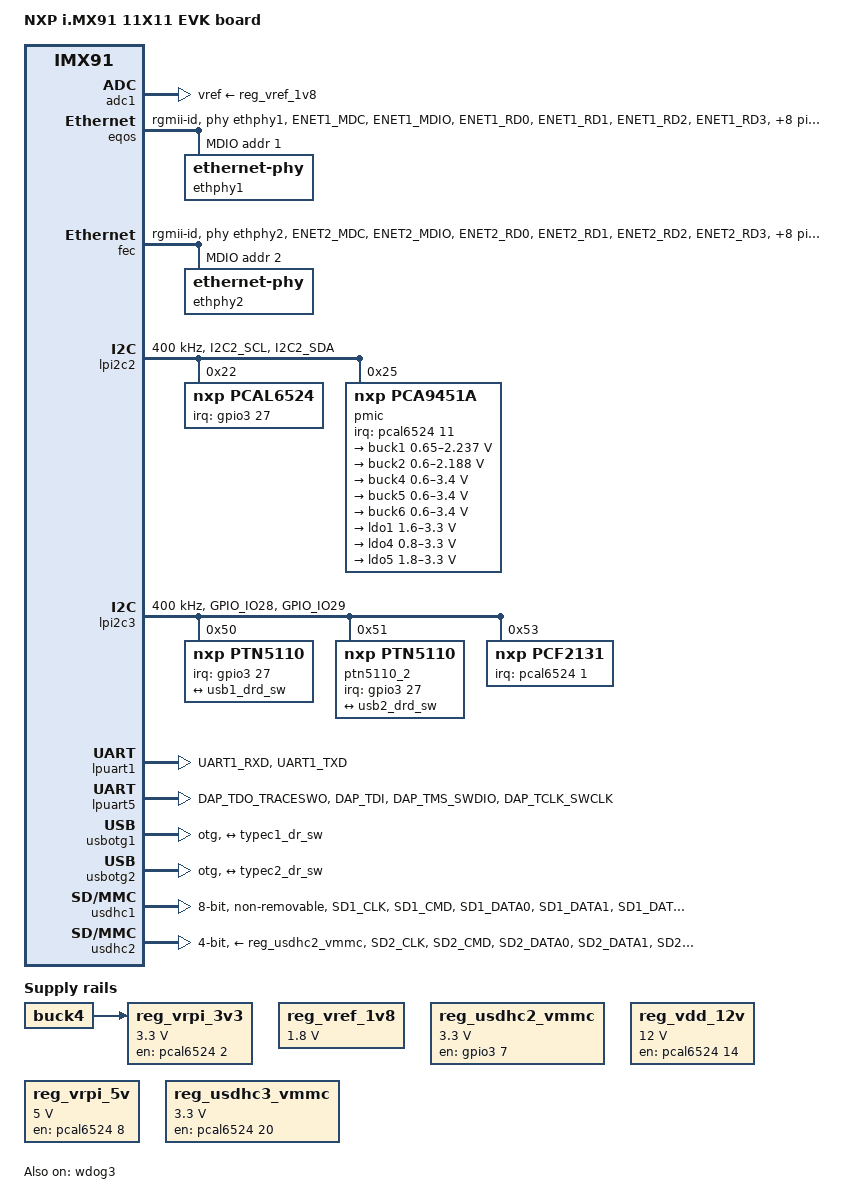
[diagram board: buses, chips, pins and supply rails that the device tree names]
// SPDX-License-Identifier: (GPL-2.0+ OR MIT)
/*
 * Copyright 2024 NXP
 */

/dts-v1/;

#include <dt-bindings/usb/pd.h>
#include "imx91.dtsi"

/ {
	model = "NXP i.MX91 11X11 EVK board";
	compatible = "fsl,imx91-11x11-evk", "fsl,imx91";

	aliases {
		ethernet0 = &fec;
		ethernet1 = &eqos;
		rtc0 = &bbnsm_rtc;
	};

	chosen {
		stdout-path = &lpuart1;
	};

	reserved-memory {
		#address-cells = <2>;
		#size-cells = <2>;
		ranges;

		linux,cma {
			compatible = "shared-dma-pool";
			reusable;
			alloc-ranges = <0 0x80000000 0 0x40000000>;
			size = <0 0x10000000>;
			linux,cma-default;
		};
	};

	reg_vref_1v8: regulator-adc-vref {
		compatible = "regulator-fixed";
		regulator-name = "vref_1v8";
		regulator-min-microvolt = <1800000>;
		regulator-max-microvolt = <1800000>;
	};

	reg_usdhc2_vmmc: regulator-usdhc2 {
		compatible = "regulator-fixed";
		pinctrl-names = "default";
		pinctrl-0 = <&pinctrl_reg_usdhc2_vmmc>;
		regulator-name = "VSD_3V3";
		regulator-min-microvolt = <3300000>;
		regulator-max-microvolt = <3300000>;
		gpio = <&gpio3 7 GPIO_ACTIVE_HIGH>;
		off-on-delay-us = <12000>;
		enable-active-high;
	};

	reg_vdd_12v: regulator-vdd-12v {
		compatible = "regulator-fixed";
		regulator-name = "reg_vdd_12v";
		regulator-min-microvolt = <12000000>;
		regulator-max-microvolt = <12000000>;
		gpio = <&pcal6524 14 GPIO_ACTIVE_HIGH>;
		enable-active-high;
	};

	reg_vrpi_3v3: regulator-vrpi-3v3 {
		compatible = "regulator-fixed";
		regulator-name = "VRPI_3V3";
		gpio = <&pcal6524 2 GPIO_ACTIVE_HIGH>;
		regulator-min-microvolt = <3300000>;
		regulator-max-microvolt = <3300000>;
		enable-active-high;
		vin-supply = <&buck4>;
	};

	reg_vrpi_5v: regulator-vrpi-5v {
		compatible = "regulator-fixed";
		regulator-name = "VRPI_5V";
		gpio = <&pcal6524 8 GPIO_ACTIVE_HIGH>;
		regulator-min-microvolt = <5000000>;
		regulator-max-microvolt = <5000000>;
		enable-active-high;
	};

	reg_usdhc3_vmmc: regulator-usdhc3 {
		compatible = "regulator-fixed";
		regulator-name = "WLAN_EN";
		regulator-min-microvolt = <3300000>;
		regulator-max-microvolt = <3300000>;
		gpio = <&pcal6524 20 GPIO_ACTIVE_HIGH>;
		/*
		 * IW612 wifi chip needs more delay than other wifi chips to complete
		 * the host interface initialization after power up, otherwise the
		 * internal state of IW612 may be unstable, resulting in the failure of
		 * the SDIO3.0 switch voltage.
		 */
		startup-delay-us = <20000>;
		enable-active-high;
	};
};

&adc1 {
	vref-supply = <&reg_vref_1v8>;
	status = "okay";
};

&eqos {
	pinctrl-names = "default", "sleep";
	pinctrl-0 = <&pinctrl_eqos>;
	pinctrl-1 = <&pinctrl_eqos_sleep>;
	phy-mode = "rgmii-id";
	phy-handle = <&ethphy1>;
	status = "okay";

	mdio {
		compatible = "snps,dwmac-mdio";
		#address-cells = <1>;
		#size-cells = <0>;
		clock-frequency = <5000000>;

		ethphy1: ethernet-phy@1 {
			reg = <1>;
			eee-broken-1000t;
		};
	};
};

&fec {
	pinctrl-names = "default", "sleep";
	pinctrl-0 = <&pinctrl_fec>;
	pinctrl-1 = <&pinctrl_fec_sleep>;
	phy-mode = "rgmii-id";
	phy-handle = <&ethphy2>;
	fsl,magic-packet;
	status = "okay";

	mdio {
		#address-cells = <1>;
		#size-cells = <0>;
		clock-frequency = <5000000>;

		ethphy2: ethernet-phy@2 {
			reg = <2>;
			eee-broken-1000t;
		};
	};
};

&lpi2c2 {
	#address-cells = <1>;
	#size-cells = <0>;
	clock-frequency = <400000>;
	pinctrl-names = "default", "sleep";
	pinctrl-0 = <&pinctrl_lpi2c2>;
	pinctrl-1 = <&pinctrl_lpi2c2>;
	status = "okay";

	pcal6524: gpio@22 {
		compatible = "nxp,pcal6524";
		pinctrl-names = "default";
		pinctrl-0 = <&pinctrl_pcal6524>;
		reg = <0x22>;
		gpio-controller;
		#gpio-cells = <2>;
		interrupt-controller;
		#interrupt-cells = <2>;
		interrupt-parent = <&gpio3>;
		interrupts = <27 IRQ_TYPE_LEVEL_LOW>;
	};

	pmic@25 {
		compatible = "nxp,pca9451a";
		reg = <0x25>;
		interrupt-parent = <&pcal6524>;
		interrupts = <11 IRQ_TYPE_EDGE_FALLING>;

		regulators {
			buck1: BUCK1 {
				regulator-name = "BUCK1";
				regulator-min-microvolt = <650000>;
				regulator-max-microvolt = <2237500>;
				regulator-boot-on;
				regulator-always-on;
				regulator-ramp-delay = <3125>;
			};

			buck2: BUCK2 {
				regulator-name = "BUCK2";
				regulator-min-microvolt = <600000>;
				regulator-max-microvolt = <2187500>;
				regulator-boot-on;
				regulator-always-on;
				regulator-ramp-delay = <3125>;
			};

			buck4: BUCK4{
				regulator-name = "BUCK4";
				regulator-min-microvolt = <600000>;
				regulator-max-microvolt = <3400000>;
				regulator-boot-on;
				regulator-always-on;
			};

			buck5: BUCK5{
				regulator-name = "BUCK5";
				regulator-min-microvolt = <600000>;
				regulator-max-microvolt = <3400000>;
				regulator-boot-on;
				regulator-always-on;
			};

			buck6: BUCK6 {
				regulator-name = "BUCK6";
				regulator-min-microvolt = <600000>;
				regulator-max-microvolt = <3400000>;
				regulator-boot-on;
				regulator-always-on;
			};

			ldo1: LDO1 {
				regulator-name = "LDO1";
				regulator-min-microvolt = <1600000>;
				regulator-max-microvolt = <3300000>;
				regulator-boot-on;
				regulator-always-on;
			};

			ldo4: LDO4 {
				regulator-name = "LDO4";
				regulator-min-microvolt = <800000>;
				regulator-max-microvolt = <3300000>;
				regulator-boot-on;
				regulator-always-on;
			};

			ldo5: LDO5 {
				regulator-name = "LDO5";
				regulator-min-microvolt = <1800000>;
				regulator-max-microvolt = <3300000>;
				regulator-boot-on;
				regulator-always-on;
			};
		};
	};
};

&lpi2c3 {
	#address-cells = <1>;
	#size-cells = <0>;
	clock-frequency = <400000>;
	pinctrl-names = "default", "sleep";
	pinctrl-0 = <&pinctrl_lpi2c3>;
	pinctrl-1 = <&pinctrl_lpi2c3>;
	status = "okay";

	ptn5110: tcpc@50 {
		compatible = "nxp,ptn5110", "tcpci";
		reg = <0x50>;
		interrupt-parent = <&gpio3>;
		interrupts = <27 IRQ_TYPE_LEVEL_LOW>;
		status = "okay";

		typec1_con: connector {
			compatible = "usb-c-connector";
			label = "USB-C";
			power-role = "dual";
			data-role = "dual";
			try-power-role = "sink";
			source-pdos = <PDO_FIXED(5000, 3000, PDO_FIXED_USB_COMM)>;
			sink-pdos = <PDO_FIXED(5000, 3000, PDO_FIXED_USB_COMM)
				     PDO_VAR(5000, 20000, 3000)>;
			op-sink-microwatt = <15000000>;
			self-powered;

			ports {
				#address-cells = <1>;
				#size-cells = <0>;

				port@0 {
					reg = <0>;

					typec1_dr_sw: endpoint {
						remote-endpoint = <&usb1_drd_sw>;
					};
				};
			};
		};
	};

	ptn5110_2: tcpc@51 {
		compatible = "nxp,ptn5110", "tcpci";
		reg = <0x51>;
		interrupt-parent = <&gpio3>;
		interrupts = <27 IRQ_TYPE_LEVEL_LOW>;
		status = "okay";

		typec2_con: connector {
			compatible = "usb-c-connector";
			label = "USB-C";
			power-role = "dual";
			data-role = "dual";
			try-power-role = "sink";
			source-pdos = <PDO_FIXED(5000, 3000, PDO_FIXED_USB_COMM)>;
			sink-pdos = <PDO_FIXED(5000, 3000, PDO_FIXED_USB_COMM)
				     PDO_VAR(5000, 20000, 3000)>;
			op-sink-microwatt = <15000000>;
			self-powered;

			ports {
				#address-cells = <1>;
				#size-cells = <0>;

				port@0 {
					reg = <0>;

					typec2_dr_sw: endpoint {
						remote-endpoint = <&usb2_drd_sw>;
					};
				};
			};
		};
	};

	pcf2131: rtc@53 {
			compatible = "nxp,pcf2131";
			reg = <0x53>;
			interrupt-parent = <&pcal6524>;
			interrupts = <1 IRQ_TYPE_EDGE_FALLING>;
			status = "okay";
	};
};

&lpuart1 { /* console */
	pinctrl-names = "default";
	pinctrl-0 = <&pinctrl_uart1>;
	status = "okay";
};

&lpuart5 {
	pinctrl-names = "default";
	pinctrl-0 = <&pinctrl_uart5>;
	status = "okay";
};

&usbotg1 {
	dr_mode = "otg";
	hnp-disable;
	srp-disable;
	adp-disable;
	usb-role-switch;
	disable-over-current;
	samsung,picophy-pre-emp-curr-control = <3>;
	samsung,picophy-dc-vol-level-adjust = <7>;
	status = "okay";

	port {
		usb1_drd_sw: endpoint {
			remote-endpoint = <&typec1_dr_sw>;
		};
	};
};

&usbotg2 {
	dr_mode = "otg";
	hnp-disable;
	srp-disable;
	adp-disable;
	usb-role-switch;
	disable-over-current;
	samsung,picophy-pre-emp-curr-control = <3>;
	samsung,picophy-dc-vol-level-adjust = <7>;
	status = "okay";

	port {
		usb2_drd_sw: endpoint {
			remote-endpoint = <&typec2_dr_sw>;
		};
	};
};

&usdhc1 {
	pinctrl-names = "default", "state_100mhz", "state_200mhz";
	pinctrl-0 = <&pinctrl_usdhc1>;
	pinctrl-1 = <&pinctrl_usdhc1_100mhz>;
	pinctrl-2 = <&pinctrl_usdhc1_200mhz>;
	bus-width = <8>;
	non-removable;
	status = "okay";
};

&usdhc2 {
	pinctrl-names = "default", "state_100mhz", "state_200mhz", "sleep";
	pinctrl-0 = <&pinctrl_usdhc2>, <&pinctrl_usdhc2_gpio>;
	pinctrl-1 = <&pinctrl_usdhc2_100mhz>, <&pinctrl_usdhc2_gpio>;
	pinctrl-2 = <&pinctrl_usdhc2_200mhz>, <&pinctrl_usdhc2_gpio>;
	pinctrl-3 = <&pinctrl_usdhc2_sleep>, <&pinctrl_usdhc2_gpio_sleep>;
	cd-gpios = <&gpio3 00 GPIO_ACTIVE_LOW>;
	vmmc-supply = <&reg_usdhc2_vmmc>;
	bus-width = <4>;
	status = "okay";
	no-sdio;
	no-mmc;
};

&wdog3 {
	fsl,ext-reset-output;
	status = "okay";
};

&iomuxc {
	pinctrl_eqos: eqosgrp {
		fsl,pins = <
			MX91_PAD_ENET1_MDC__ENET1_MDC			0x57e
			MX91_PAD_ENET1_MDIO__ENET_QOS_MDIO			0x57e
			MX91_PAD_ENET1_RD0__ENET_QOS_RGMII_RD0			0x57e
			MX91_PAD_ENET1_RD1__ENET_QOS_RGMII_RD1			0x57e
			MX91_PAD_ENET1_RD2__ENET_QOS_RGMII_RD2			0x57e
			MX91_PAD_ENET1_RD3__ENET_QOS_RGMII_RD3			0x57e
			MX91_PAD_ENET1_RXC__ENET_QOS_RGMII_RXC	0x5fe
			MX91_PAD_ENET1_RX_CTL__ENET_QOS_RGMII_RX_CTL		0x57e
			MX91_PAD_ENET1_TD0__ENET_QOS_RGMII_TD0			0x57e
			MX91_PAD_ENET1_TD1__ENET1_RGMII_TD1			0x57e
			MX91_PAD_ENET1_TD2__ENET_QOS_RGMII_TD2			0x57e
			MX91_PAD_ENET1_TD3__ENET_QOS_RGMII_TD3			0x57e
			MX91_PAD_ENET1_TXC__CCM_ENET_QOS_CLOCK_GENERATE_TX_CLK	0x5fe
			MX91_PAD_ENET1_TX_CTL__ENET_QOS_RGMII_TX_CTL		0x57e
		>;
	};

	pinctrl_eqos_sleep: eqossleepgrp {
		fsl,pins = <
			MX91_PAD_ENET1_MDC__GPIO4_IO0				0x31e
			MX91_PAD_ENET1_MDIO__GPIO4_IO1				0x31e
			MX91_PAD_ENET1_RD0__GPIO4_IO10                          0x31e
			MX91_PAD_ENET1_RD1__GPIO4_IO11				0x31e
			MX91_PAD_ENET1_RD2__GPIO4_IO12				0x31e
			MX91_PAD_ENET1_RD3__GPIO4_IO13				0x31e
			MX91_PAD_ENET1_RXC__GPIO4_IO9                          0x31e
			MX91_PAD_ENET1_RX_CTL__GPIO4_IO8			0x31e
			MX91_PAD_ENET1_TD0__GPIO4_IO5                          0x31e
			MX91_PAD_ENET1_TD1__GPIO4_IO4                          0x31e
			MX91_PAD_ENET1_TD2__GPIO4_IO3				0x31e
			MX91_PAD_ENET1_TD3__GPIO4_IO3				0x31e
			MX91_PAD_ENET1_TXC__GPIO4_IO7                          0x31e
			MX91_PAD_ENET1_TX_CTL__GPIO4_IO6                       0x31e
		>;
	};

	pinctrl_fec: fecgrp {
		fsl,pins = <
			MX91_PAD_ENET2_MDC__ENET2_MDC			0x57e
			MX91_PAD_ENET2_MDIO__ENET2_MDIO			0x57e
			MX91_PAD_ENET2_RD0__ENET2_RGMII_RD0		0x57e
			MX91_PAD_ENET2_RD1__ENET2_RGMII_RD1		0x57e
			MX91_PAD_ENET2_RD2__ENET2_RGMII_RD2		0x57e
			MX91_PAD_ENET2_RD3__ENET2_RGMII_RD3		0x57e
			MX91_PAD_ENET2_RXC__ENET2_RGMII_RXC		0x5fe
			MX91_PAD_ENET2_RX_CTL__ENET2_RGMII_RX_CTL	0x57e
			MX91_PAD_ENET2_TD0__ENET2_RGMII_TD0		0x57e
			MX91_PAD_ENET2_TD1__ENET2_RGMII_TD1		0x57e
			MX91_PAD_ENET2_TD2__ENET2_RGMII_TD2		0x57e
			MX91_PAD_ENET2_TD3__ENET2_RGMII_TD3		0x57e
			MX91_PAD_ENET2_TXC__ENET2_RGMII_TXC		0x5fe
			MX91_PAD_ENET2_TX_CTL__ENET2_RGMII_TX_CTL	0x57e
		>;
	};

	pinctrl_fec_sleep: fecsleepgrp {
		fsl,pins = <
			MX91_PAD_ENET2_MDC__GPIO4_IO14			0x51e
			MX91_PAD_ENET2_MDIO__GPIO4_IO15			0x51e
			MX91_PAD_ENET2_RD0__GPIO4_IO24			0x51e
			MX91_PAD_ENET2_RD1__GPIO4_IO25			0x51e
			MX91_PAD_ENET2_RD2__GPIO4_IO26			0x51e
			MX91_PAD_ENET2_RD3__GPIO4_IO27			0x51e
			MX91_PAD_ENET2_RXC__GPIO4_IO23                  0x51e
			MX91_PAD_ENET2_RX_CTL__GPIO4_IO22		0x51e
			MX91_PAD_ENET2_TD0__GPIO4_IO19			0x51e
			MX91_PAD_ENET2_TD1__GPIO4_IO18			0x51e
			MX91_PAD_ENET2_TD2__GPIO4_IO17			0x51e
			MX91_PAD_ENET2_TD3__GPIO4_IO16			0x51e
			MX91_PAD_ENET2_TXC__GPIO4_IO21                  0x51e
			MX91_PAD_ENET2_TX_CTL__GPIO4_IO20               0x51e
		>;
	};

	pinctrl_flexcan2: flexcan2grp {
		fsl,pins = <
			MX91_PAD_GPIO_IO25__CAN2_TX	0x139e
			MX91_PAD_GPIO_IO27__CAN2_RX	0x139e
		>;
	};
	pinctrl_flexcan2_sleep: flexcan2sleepgrp {
		fsl,pins = <
			MX91_PAD_GPIO_IO25__GPIO2_IO25  0x31e
			MX91_PAD_GPIO_IO27__GPIO2_IO27	0x31e
		>;
	};

	pinctrl_lcdif: lcdifgrp {
		fsl,pins = <
			MX91_PAD_GPIO_IO00__MEDIAMIX_DISP_CLK		0x31e
			MX91_PAD_GPIO_IO01__MEDIAMIX_DISP_DE		0x31e
			MX91_PAD_GPIO_IO02__MEDIAMIX_DISP_VSYNC		0x31e
			MX91_PAD_GPIO_IO03__MEDIAMIX_DISP_HSYNC		0x31e
			MX91_PAD_GPIO_IO04__MEDIAMIX_DISP_DATA0		0x31e
			MX91_PAD_GPIO_IO05__MEDIAMIX_DISP_DATA1		0x31e
			MX91_PAD_GPIO_IO06__MEDIAMIX_DISP_DATA2		0x31e
			MX91_PAD_GPIO_IO07__MEDIAMIX_DISP_DATA3		0x31e
			MX91_PAD_GPIO_IO08__MEDIAMIX_DISP_DATA4		0x31e
			MX91_PAD_GPIO_IO09__MEDIAMIX_DISP_DATA5		0x31e
			MX91_PAD_GPIO_IO10__MEDIAMIX_DISP_DATA6		0x31e
			MX91_PAD_GPIO_IO11__MEDIAMIX_DISP_DATA7		0x31e
			MX91_PAD_GPIO_IO12__MEDIAMIX_DISP_DATA8		0x31e
			MX91_PAD_GPIO_IO13__MEDIAMIX_DISP_DATA9		0x31e
			MX91_PAD_GPIO_IO14__MEDIAMIX_DISP_DATA10	0x31e
			MX91_PAD_GPIO_IO15__MEDIAMIX_DISP_DATA11	0x31e
			MX91_PAD_GPIO_IO16__MEDIAMIX_DISP_DATA12	0x31e
			MX91_PAD_GPIO_IO17__MEDIAMIX_DISP_DATA13	0x31e
			MX91_PAD_GPIO_IO18__MEDIAMIX_DISP_DATA14	0x31e
			MX91_PAD_GPIO_IO19__MEDIAMIX_DISP_DATA15	0x31e
			MX91_PAD_GPIO_IO20__MEDIAMIX_DISP_DATA16	0x31e
			MX91_PAD_GPIO_IO21__MEDIAMIX_DISP_DATA17	0x31e
			MX91_PAD_GPIO_IO27__GPIO2_IO27			0x31e
		>;
	};

	pinctrl_lcdif_gpio: lcdifgpiogrp {
		fsl,pins = <
			MX91_PAD_GPIO_IO00__GPIO2_IO0			0x51e
			MX91_PAD_GPIO_IO01__GPIO2_IO1			0x51e
			MX91_PAD_GPIO_IO02__GPIO2_IO2			0x51e
			MX91_PAD_GPIO_IO03__GPIO2_IO3			0x51e
		>;
	};

	pinctrl_lpi2c1: lpi2c1grp {
		fsl,pins = <
			MX91_PAD_I2C1_SCL__LPI2C1_SCL			0x40000b9e
			MX91_PAD_I2C1_SDA__LPI2C1_SDA			0x40000b9e
		>;
	};

	pinctrl_lpi2c2: lpi2c2grp {
		fsl,pins = <
			MX91_PAD_I2C2_SCL__LPI2C2_SCL			0x40000b9e
			MX91_PAD_I2C2_SDA__LPI2C2_SDA			0x40000b9e
		>;
	};

	pinctrl_lpi2c3: lpi2c3grp {
		fsl,pins = <
			MX91_PAD_GPIO_IO28__LPI2C3_SDA			0x40000b9e
			MX91_PAD_GPIO_IO29__LPI2C3_SCL			0x40000b9e
		>;
	};

	pinctrl_pcal6524: pcal6524grp {
		fsl,pins = <
			MX91_PAD_CCM_CLKO2__GPIO3_IO27			0x31e
		>;
	};

	pinctrl_uart1: uart1grp {
		fsl,pins = <
			MX91_PAD_UART1_RXD__LPUART1_RX			0x31e
			MX91_PAD_UART1_TXD__LPUART1_TX			0x31e
		>;
	};

	pinctrl_uart5: uart5grp {
		fsl,pins = <
			MX91_PAD_DAP_TDO_TRACESWO__LPUART5_TX	0x31e
			MX91_PAD_DAP_TDI__LPUART5_RX		0x31e
			MX91_PAD_DAP_TMS_SWDIO__LPUART5_RTS_B	0x31e
			MX91_PAD_DAP_TCLK_SWCLK__LPUART5_CTS_B	0x31e
		>;
	};

	pinctrl_usdhc1: usdhc1grp {
		fsl,pins = <
			MX91_PAD_SD1_CLK__USDHC1_CLK		0x1582
			MX91_PAD_SD1_CMD__USDHC1_CMD		0x1382
			MX91_PAD_SD1_DATA0__USDHC1_DATA0	0x1382
			MX91_PAD_SD1_DATA1__USDHC1_DATA1	0x1382
			MX91_PAD_SD1_DATA2__USDHC1_DATA2	0x1382
			MX91_PAD_SD1_DATA3__USDHC1_DATA3	0x1382
			MX91_PAD_SD1_DATA4__USDHC1_DATA4	0x1382
			MX91_PAD_SD1_DATA5__USDHC1_DATA5	0x1382
			MX91_PAD_SD1_DATA6__USDHC1_DATA6	0x1382
			MX91_PAD_SD1_DATA7__USDHC1_DATA7	0x1382
			MX91_PAD_SD1_STROBE__USDHC1_STROBE	0x1582
		>;
	};

	pinctrl_usdhc1_100mhz: usdhc1-100mhzgrp {
		fsl,pins = <
			MX91_PAD_SD1_CLK__USDHC1_CLK		0x158e
			MX91_PAD_SD1_CMD__USDHC1_CMD		0x138e
			MX91_PAD_SD1_DATA0__USDHC1_DATA0	0x138e
			MX91_PAD_SD1_DATA1__USDHC1_DATA1	0x138e
			MX91_PAD_SD1_DATA2__USDHC1_DATA2	0x138e
			MX91_PAD_SD1_DATA3__USDHC1_DATA3	0x138e
			MX91_PAD_SD1_DATA4__USDHC1_DATA4	0x138e
			MX91_PAD_SD1_DATA5__USDHC1_DATA5	0x138e
			MX91_PAD_SD1_DATA6__USDHC1_DATA6	0x138e
			MX91_PAD_SD1_DATA7__USDHC1_DATA7	0x138e
			MX91_PAD_SD1_STROBE__USDHC1_STROBE	0x158e
		>;
	};

	pinctrl_usdhc1_200mhz: usdhc1-200mhzgrp {
		fsl,pins = <
			MX91_PAD_SD1_CLK__USDHC1_CLK		0x15fe
			MX91_PAD_SD1_CMD__USDHC1_CMD		0x13fe
			MX91_PAD_SD1_DATA0__USDHC1_DATA0	0x13fe
			MX91_PAD_SD1_DATA1__USDHC1_DATA1	0x13fe
			MX91_PAD_SD1_DATA2__USDHC1_DATA2	0x13fe
			MX91_PAD_SD1_DATA3__USDHC1_DATA3	0x13fe
			MX91_PAD_SD1_DATA4__USDHC1_DATA4	0x13fe
			MX91_PAD_SD1_DATA5__USDHC1_DATA5	0x13fe
			MX91_PAD_SD1_DATA6__USDHC1_DATA6	0x13fe
			MX91_PAD_SD1_DATA7__USDHC1_DATA7	0x13fe
			MX91_PAD_SD1_STROBE__USDHC1_STROBE	0x15fe
		>;
	};

	pinctrl_reg_usdhc2_vmmc: regusdhc2vmmcgrp {
		fsl,pins = <
			MX91_PAD_SD2_RESET_B__GPIO3_IO7	0x31e
		>;
	};

	pinctrl_usdhc2_gpio: usdhc2gpiogrp {
		fsl,pins = <
			MX91_PAD_SD2_CD_B__GPIO3_IO0		0x31e
		>;
	};

	pinctrl_usdhc2_gpio_sleep: usdhc2gpiosleepgrp {
		fsl,pins = <
			MX91_PAD_SD2_CD_B__GPIO3_IO0		0x51e
		>;
	};

	pinctrl_usdhc2: usdhc2grp {
		fsl,pins = <
			MX91_PAD_SD2_CLK__USDHC2_CLK		0x1582
			MX91_PAD_SD2_CMD__USDHC2_CMD		0x1382
			MX91_PAD_SD2_DATA0__USDHC2_DATA0	0x1382
			MX91_PAD_SD2_DATA1__USDHC2_DATA1	0x1382
			MX91_PAD_SD2_DATA2__USDHC2_DATA2	0x1382
			MX91_PAD_SD2_DATA3__USDHC2_DATA3	0x1382
			MX91_PAD_SD2_VSELECT__USDHC2_VSELECT	0x51e
		>;
	};

	pinctrl_usdhc2_100mhz: usdhc2-100mhzgrp {
		fsl,pins = <
			MX91_PAD_SD2_CLK__USDHC2_CLK		0x158e
			MX91_PAD_SD2_CMD__USDHC2_CMD		0x138e
			MX91_PAD_SD2_DATA0__USDHC2_DATA0	0x138e
			MX91_PAD_SD2_DATA1__USDHC2_DATA1	0x138e
			MX91_PAD_SD2_DATA2__USDHC2_DATA2	0x138e
			MX91_PAD_SD2_DATA3__USDHC2_DATA3	0x138e
			MX91_PAD_SD2_VSELECT__USDHC2_VSELECT	0x51e
		>;
	};

	pinctrl_usdhc2_200mhz: usdhc2-200mhzgrp {
		fsl,pins = <
			MX91_PAD_SD2_CLK__USDHC2_CLK		0x15fe
			MX91_PAD_SD2_CMD__USDHC2_CMD		0x13fe
			MX91_PAD_SD2_DATA0__USDHC2_DATA0	0x13fe
			MX91_PAD_SD2_DATA1__USDHC2_DATA1	0x13fe
			MX91_PAD_SD2_DATA2__USDHC2_DATA2	0x13fe
			MX91_PAD_SD2_DATA3__USDHC2_DATA3	0x13fe
			MX91_PAD_SD2_VSELECT__USDHC2_VSELECT	0x51e
		>;
	};

	pinctrl_usdhc2_sleep: usdhc2sleepgrp {
		fsl,pins = <
			MX91_PAD_SD2_CLK__GPIO3_IO1            0x51e
			MX91_PAD_SD2_CMD__GPIO3_IO2		0x51e
			MX91_PAD_SD2_DATA0__GPIO3_IO3		0x51e
			MX91_PAD_SD2_DATA1__GPIO3_IO4		0x51e
			MX91_PAD_SD2_DATA2__GPIO3_IO5		0x51e
			MX91_PAD_SD2_DATA3__GPIO3_IO6		0x51e
			MX91_PAD_SD2_VSELECT__GPIO3_IO19	0x51e
		>;
	};

	pinctrl_usdhc3: usdhc3grp {
		fsl,pins = <
			MX91_PAD_SD3_CLK__USDHC3_CLK		0x1582
			MX91_PAD_SD3_CMD__USDHC3_CMD		0x1382
			MX91_PAD_SD3_DATA0__USDHC3_DATA0	0x1382
			MX91_PAD_SD3_DATA1__USDHC3_DATA1	0x1382
			MX91_PAD_SD3_DATA2__USDHC3_DATA2	0x1382
			MX91_PAD_SD3_DATA3__USDHC3_DATA3	0x1382
		>;
	};

	pinctrl_usdhc3_100mhz: usdhc3-100mhzgrp {
		fsl,pins = <
			MX91_PAD_SD3_CLK__USDHC3_CLK		0x158e
			MX91_PAD_SD3_CMD__USDHC3_CMD		0x138e
			MX91_PAD_SD3_DATA0__USDHC3_DATA0	0x138e
			MX91_PAD_SD3_DATA1__USDHC3_DATA1	0x138e
			MX91_PAD_SD3_DATA2__USDHC3_DATA2	0x138e
			MX91_PAD_SD3_DATA3__USDHC3_DATA3	0x138e
		>;
	};

	pinctrl_usdhc3_200mhz: usdhc3-200mhzgrp {
		fsl,pins = <
			MX91_PAD_SD3_CLK__USDHC3_CLK		0x15fe
			MX91_PAD_SD3_CMD__USDHC3_CMD		0x13fe
			MX91_PAD_SD3_DATA0__USDHC3_DATA0	0x13fe
			MX91_PAD_SD3_DATA1__USDHC3_DATA1	0x13fe
			MX91_PAD_SD3_DATA2__USDHC3_DATA2	0x13fe
			MX91_PAD_SD3_DATA3__USDHC3_DATA3	0x13fe
		>;
	};

	pinctrl_usdhc3_sleep: usdhc3sleepgrp {
		fsl,pins = <
			MX91_PAD_SD3_CLK__GPIO3_IO20		0x31e
			MX91_PAD_SD3_CMD__GPIO3_IO21		0x31e
			MX91_PAD_SD3_DATA0__GPIO3_IO22		0x31e
			MX91_PAD_SD3_DATA1__GPIO3_IO23		0x31e
			MX91_PAD_SD3_DATA2__GPIO3_IO24		0x31e
			MX91_PAD_SD3_DATA3__GPIO3_IO25		0x31e
		>;
	};

	pinctrl_usdhc3_wlan: usdhc3wlangrp {
		fsl,pins = <
			MX91_PAD_CCM_CLKO1__GPIO3_IO26		0x31e
		>;
	};

	pinctrl_sai1: sai1grp {
		fsl,pins = <
			MX91_PAD_SAI1_TXC__SAI1_TX_BCLK			0x31e
			MX91_PAD_SAI1_TXFS__SAI1_TX_SYNC		0x31e
			MX91_PAD_SAI1_TXD0__SAI1_TX_DATA0		0x31e
			MX91_PAD_SAI1_RXD0__SAI1_RX_DATA0		0x31e
		>;
	};

	pinctrl_sai1_sleep: sai1sleepgrp {
		fsl,pins = <
			MX91_PAD_SAI1_TXC__GPIO1_IO12                   0x51e
			MX91_PAD_SAI1_TXFS__GPIO1_IO11			0x51e
			MX91_PAD_SAI1_TXD0__GPIO1_IO13			0x51e
			MX91_PAD_SAI1_RXD0__GPIO1_IO14			0x51e
		>;
	};

	pinctrl_sai3: sai3grp {
		fsl,pins = <
			MX91_PAD_GPIO_IO26__SAI3_TX_SYNC		0x31e
			MX91_PAD_GPIO_IO16__SAI3_TX_BCLK		0x31e
			MX91_PAD_GPIO_IO17__SAI3_MCLK			0x31e
			MX91_PAD_GPIO_IO19__SAI3_TX_DATA0		0x31e
			MX91_PAD_GPIO_IO20__SAI3_RX_DATA0		0x31e
		>;
	};

	pinctrl_sai3_sleep: sai3sleepgrp {
		fsl,pins = <
			MX91_PAD_GPIO_IO26__GPIO2_IO26			0x51e
			MX91_PAD_GPIO_IO16__GPIO2_IO16			0x51e
			MX91_PAD_GPIO_IO17__GPIO2_IO17			0x51e
			MX91_PAD_GPIO_IO19__GPIO2_IO19			0x51e
			MX91_PAD_GPIO_IO20__GPIO2_IO20			0x51e
		>;
	};

	pinctrl_pdm: pdmgrp {
		fsl,pins = <
			MX91_PAD_PDM_CLK__PDM_CLK			0x31e
			MX91_PAD_PDM_BIT_STREAM0__PDM_BIT_STREAM0	0x31e
			MX91_PAD_PDM_BIT_STREAM1__PDM_BIT_STREAM1	0x31e
		>;
	};

	pinctrl_pdm_sleep: pdmsleepgrp {
		fsl,pins = <
			MX91_PAD_PDM_CLK__GPIO1_IO8			0x31e
			MX91_PAD_PDM_BIT_STREAM0__GPIO1_IO9		0x31e
			MX91_PAD_PDM_BIT_STREAM1__GPIO1_IO10		0x31e
		>;
	};

	pinctrl_spdif: spdifgrp {
		fsl,pins = <
			MX91_PAD_GPIO_IO22__SPDIF_IN		0x31e
			MX91_PAD_GPIO_IO23__SPDIF_OUT		0x31e
		>;
	};

	pinctrl_spdif_sleep: spdifsleepgrp {
		fsl,pins = <
			MX91_PAD_GPIO_IO22__GPIO2_IO22		0x31e
			MX91_PAD_GPIO_IO23__GPIO2_IO23		0x31e
		>;
	};
};
